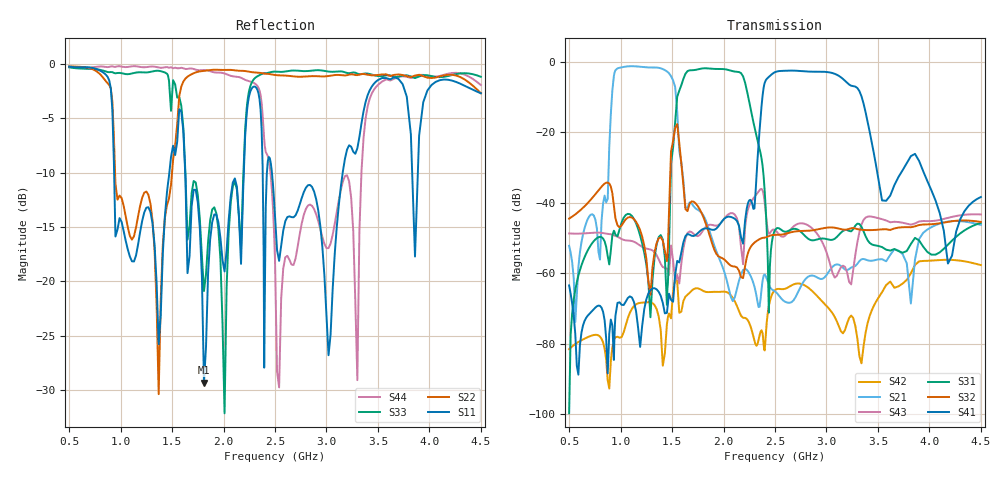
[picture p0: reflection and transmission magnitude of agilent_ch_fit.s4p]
! .MODEL  SMODEL agilent_ch S  TSTONEFILE=.\agilent_ch_fit.s4p  TYPE=SFMAX=  6.6e+09
! The above .MODEL line can be used for the S element in the netlist.
# Hz S RI R  75
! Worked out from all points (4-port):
!   205 points, 500 MHz to 4.5 GHz, reference 75 ohm
!   strongest paths, dB at 500 MHz, 1.33 GHz, 2.245 GHz, 2.98 GHz, 4.5 GHz:
!     S41: -63.5, -64.3, -39.6, -2.8, -38.4
!     S32: -44.5, -54.0, -53.7, -47.2, -45.4
!     S31: -99.8, -55.5, -10.7, -50.2, -45.7
!     S43: -48.7, -54.0, -41.2, -52.5, -43.3
!     S21: -52.2, -1.6, -59.8, -61.2, -46.3
!     S42: -81.6, -69.1, -73.8, -68.7, -57.7
!   lowest |S11| = -29.3 dB at 1.81 GHz (marker M1), VSWR 1.07, Z = 78.8 - j3.68 ohm
!   |S11| at or under -10 dB: 937 MHz to 1.473 GHz (536.4 MHz wide, 44.5 % of centre); 1.628 GHz to 2.197 GHz (569.5 MHz wide, 29.8 % of centre); 2.47 GHz to 3.158 GHz (687.3 MHz wide, 24.4 % of centre)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
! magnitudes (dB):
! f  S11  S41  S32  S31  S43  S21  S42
! 500 MHz  -0.2  -63.5  -44.5  -99.8  -48.7  -52.2  -81.6
! 1.45 GHz  -11.9  -71.3  -56.6  -69.0  -58.7  -2.7  -74.5
! 1.55 GHz  -7.1  -56.5  -17.6  -9.9  -60.4  -14.0  -62.3
! 1.81 GHz  -29.3  -47.3  -44.5  -1.8  -47.5  -43.9  -65.1
! 2.21 GHz  -6.6  -44.9  -57.9  -6.0  -46.8  -58.7  -72.7
! 2.44 GHz  -8.5  -4.3  -49.5  -71.2  -48.8  -63.3  -69.4
! 4.5 GHz  -2.7  -38.4  -45.4  -45.7  -43.3  -46.3  -57.7
